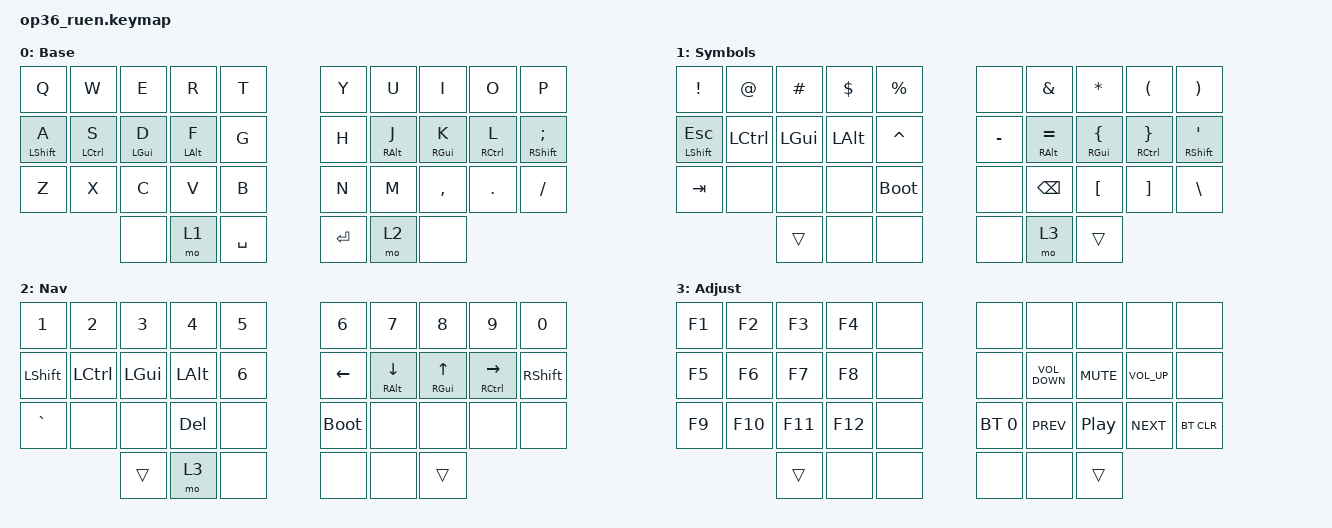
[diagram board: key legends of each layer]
#include "keys_ru.h"
#include "keys_ru.h"
#include <behaviors.dtsi>
#include <dt-bindings/zmk/bt.h>
#include <dt-bindings/zmk/keys.h>

&mt {
    quick-tap-ms = <200>;
    flavor = "tap-preferred";
    require-prior-idle-ms = <125>;
};

/ {
    behaviors {
        hml: home_row_mod_left {
            compatible = "zmk,behavior-hold-tap";
            #binding-cells = <2>;
            flavor = "balanced";
            require-prior-idle-ms = <50>;
            tapping-term-ms = <200>;
            quick-tap-ms = <150>;
            bindings = <&kp>, <&kp>;

            hold-trigger-key-positions = <5 6 7 8 9 15 16 17 18 19 25 26 27 28 29 33 34 35>;
            hold-trigger-on-release;
        };

        hmr: home_row_mod_right {
            compatible = "zmk,behavior-hold-tap";
            #binding-cells = <2>;
            flavor = "balanced";
            require-prior-idle-ms = <50>;
            tapping-term-ms = <200>;
            quick-tap-ms = <150>;
            bindings = <&kp>, <&kp>;

            hold-trigger-key-positions = <0 1 2 3 4 10 11 12 13 14 20 21 22 23 24 30 31 32>;
            hold-trigger-on-release;
        };
    };

    combos {
        compatible = "zmk,combos";

        esc {
            bindings = <&kp ESC>;
            key-positions = <12 17>;
        };

        caps {
            bindings = <&kp CAPSLOCK>;
            key-positions = <10 19>;
        };

        lang {
            bindings = <&kp LG(SPACE)>;
            key-positions = <2 7>;
            timeout-ms = <60>;
            layers = <0>;
        };
    };

    keymap {
        compatible = "zmk,keymap";

        en {
            bindings = <
  &kp Q              &kp W         &kp E            &kp R            &kp T                          &kp Y  &kp U             &kp I             &kp O                 &kp P
  &hml LEFT_SHIFT A  &hml LCTRL S  &hml LEFT_GUI D  &hml LEFT_ALT F  &kp G                          &kp H  &hmr RIGHT_ALT J  &hmr RIGHT_GUI K  &hmr RIGHT_CONTROL L  &hmr RIGHT_SHIFT SEMICOLON
  &kp Z              &kp X         &kp C            &kp V            &kp B                          &kp N  &kp M             &kp COMMA         &kp DOT               &kp SLASH
                                                    &none            &mo 1  &kp SPACE    &kp ENTER  &mo 2  &none
            >;

            display-name = "Base";
        };

        sym_en {
            bindings = <
  &kp EXCL             &kp AT_SIGN       &kp HASH      &kp DOLLAR    &kp PRCNT                    &none      &kp AMPERSAND         &kp ASTERISK               &kp LEFT_PARENTHESIS            &kp RIGHT_PARENTHESIS
  &hml LEFT_SHIFT ESC  &kp LEFT_CONTROL  &kp LEFT_GUI  &kp LEFT_ALT  &kp CARET                    &kp MINUS  &hmr RIGHT_ALT EQUAL  &hmr RIGHT_GUI LEFT_BRACE  &hmr RIGHT_CONTROL RIGHT_BRACE  &hmr RIGHT_SHIFT SINGLE_QUOTE
  &kp TAB              &none             &none         &none         &bootloader                  &none      &kp BACKSPACE         &kp LEFT_BRACKET           &kp RIGHT_BRACKET               &kp BACKSLASH
                                                       &trans        &none        &none    &none  &mo 3      &trans
            >;

            display-name = "Symbols";
        };

        nav {
            bindings = <
  &kp N1          &kp N2            &kp N3        &kp N4        &kp N5                        &kp N6       &kp N7               &kp N8                   &kp N9                    &kp N0
  &kp LEFT_SHIFT  &kp LEFT_CONTROL  &kp LEFT_GUI  &kp LEFT_ALT  &kp NUMBER_6                  &kp LEFT     &hmr RIGHT_ALT DOWN  &hmr RIGHT_GUI UP_ARROW  &hmr RIGHT_CONTROL RIGHT  &kp RIGHT_SHIFT
  &kp GRAVE       &none             &none         &kp DELETE    &none                         &bootloader  &none                &none                    &none                     &none
                                                  &trans        &mo 3         &none    &none  &none        &trans
            >;

            display-name = "Nav";
        };

        adj {
            bindings = <
  &kp F1  &kp F2   &kp F3   &kp F4   &none                  &none         &none              &none       &none            &none
  &kp F5  &kp F6   &kp F7   &kp F8   &none                  &none         &kp C_VOLUME_DOWN  &kp K_MUTE  &kp C_VOLUME_UP  &none
  &kp F9  &kp F10  &kp F11  &kp F12  &none                  &bt BT_SEL 0  &kp C_PREV         &kp C_PP    &kp C_NEXT       &bt BT_CLR
                            &trans   &none  &none    &none  &none         &trans
            >;

            display-name = "Adjust";
        };
    };
};
